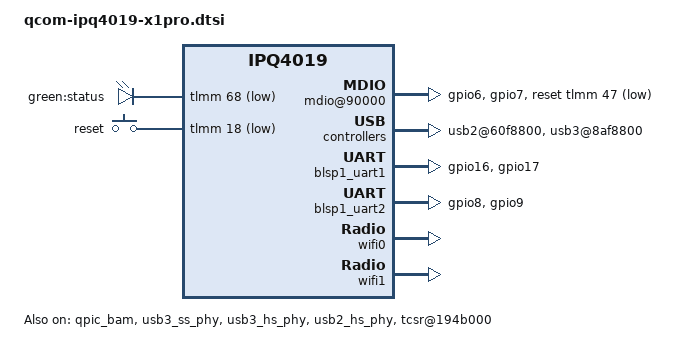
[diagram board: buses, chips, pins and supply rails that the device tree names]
// SPDX-License-Identifier: GPL-2.0-or-later OR MIT

#include "qcom-ipq4019.dtsi"
#include <dt-bindings/gpio/gpio.h>
#include <dt-bindings/input/input.h>
#include <dt-bindings/soc/qcom,tcsr.h>

/ {
	compatible = "tel,x1pro","qcom,ipq4019";
	aliases {
		led-boot = &led_status;
		led-failsafe = &led_status;
		led-running = &led_status;
		led-upgrade = &led_status;
		serial0 = &blsp1_uart1;
		serial1 = &blsp1_uart2;
	};
	
	soc {

		rng@22000 {
			status = "okay";
		};

		mdio@90000 {
			status = "okay";
			pinctrl-0 = <&mdio_pins>;
			pinctrl-names = "default";
			reset-gpios = <&tlmm 47 GPIO_ACTIVE_LOW>;
			reset-delay-us = <2000>;
		};

		ess-psgmii@98000 {
			status = "okay";
		};

		tcsr@1949000 {
			compatible = "qcom,tcsr";
			reg = <0x1949000 0x100>;
			qcom,wifi_glb_cfg = <TCSR_WIFI_GLB_CFG>;
		};

		tcsr@194b000 {
			compatible = "qcom,tcsr";
			reg = <0x194b000 0x100>;
			qcom,usb-hsphy-mode-select = <TCSR_USB_HSPHY_HOST_MODE>;
			status = "okay";
		};

		ess_tcsr@1953000 {
			compatible = "qcom,tcsr";
			reg = <0x1953000 0x1000>;
			qcom,ess-interface-select = <TCSR_ESS_PSGMII>;
		};

		tcsr@1957000 {
			compatible = "qcom,tcsr";
			reg = <0x1957000 0x100>;
			qcom,wifi_noc_memtype_m0_m2 = <TCSR_WIFI_NOC_MEMTYPE_M0_M2>;
		};

		usb2@60f8800 {
			status = "okay";

			dwc3@6000000 {
				#address-cells = <1>;
				#size-cells = <0>;

				port@1 {
					reg = <1>;
					#trigger-source-cells = <0>;
				};
			};
		};

		usb3@8af8800 {
			status = "okay";

			dwc3@8a00000 {
				#address-cells = <1>;
				#size-cells = <0>;

				port@1 {
					reg = <1>;
					#trigger-source-cells = <0>;
				};

				port@2 {
					reg = <2>;
					#trigger-source-cells = <0>;
				};
			};
		};

		watchdog@b017000 {
			status = "okay";
		};

		ess-switch@c000000 {
			status = "okay";
		};

		edma@c080000 {
			status = "okay";
		};

		leds {
			compatible = "gpio-leds";
			pinctrl-0 = <&led_pins>;
			pinctrl-names = "default";

			led_status: status {
				label = "green:status";
				gpios = <&tlmm 68 GPIO_ACTIVE_LOW>;
			};
		};

		keys {
			compatible = "gpio-keys";

			reset {
				label = "reset";
				gpios = <&tlmm 18 GPIO_ACTIVE_LOW>;
				linux,code = <KEY_RESTART>;
			};
		};
	};
};

&blsp_dma {
	status = "okay";
};

&blsp1_uart1 {
	pinctrl-0 = <&serial_0_pins>;
	pinctrl-names = "default";
	status = "okay";
};

&blsp1_uart2 {
	pinctrl-0 = <&serial_1_pins>;
	pinctrl-names = "default";
	status = "okay";
};

&qpic_bam {
	status = "okay";
};

&tlmm {
	mdio_pins: mdio_pinmux {
		mux_1 {
			pins = "gpio6";
			function = "mdio";
			bias-pull-up;
		};
		mux_2 {
			pins = "gpio7";
			function = "mdc";
			bias-pull-up;
		};
	};

	serial_0_pins: serial0-pinmux {
		mux {
			pins = "gpio16", "gpio17";
			function = "blsp_uart0";
			bias-disable;
		};
	};
	serial_1_pins: serial1_pinmux {
		mux {
			pins = "gpio8", "gpio9";
			function = "blsp_uart1";
			bias-disable;
		};
	};

	spi_0_pins: spi_0_pinmux {
		pinmux {
			function = "blsp_spi0";
			pins = "gpio13", "gpio14", "gpio15";
			drive-strength = <12>;
			bias-disable;
		};

		pinmux_cs {
			function = "gpio";
			pins = "gpio12";
			drive-strength = <2>;
			bias-disable;
			output-high;
		};
	};

	led_pins: led_pinmux {
		mux {
			function = "gpio";
			pins = "gpio68";
			bias-disabled;
			output-low;
		};
	};
};

&usb3_ss_phy {
	status = "okay";
};

&usb3_hs_phy {
	status = "okay";
};

&usb2_hs_phy {
	status = "okay";
};

&wifi0 {
	status = "okay";
	nvmem-cell-names = "pre-calibration";
	nvmem-cells = <&precal_art_1000>;
};

&wifi1 {
	status = "okay";
	nvmem-cell-names = "pre-calibration";
	nvmem-cells = <&precal_art_5000>;
};
